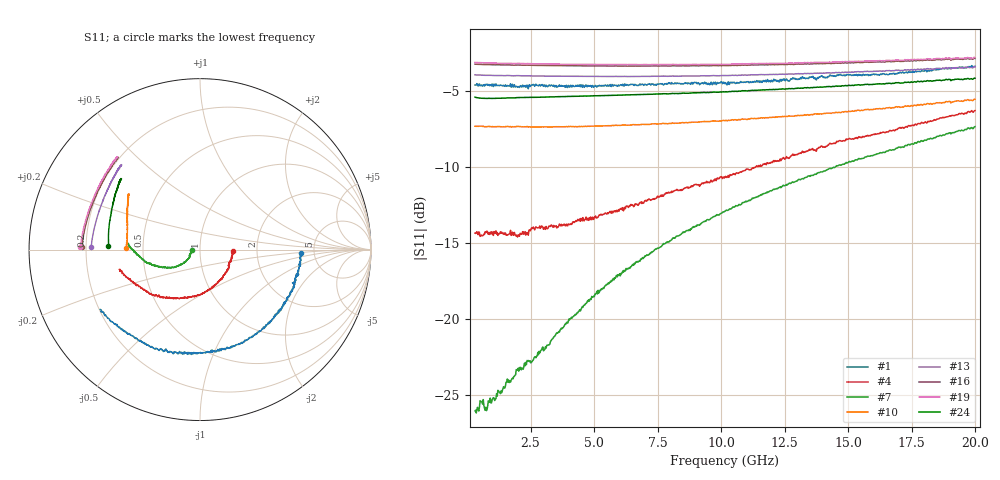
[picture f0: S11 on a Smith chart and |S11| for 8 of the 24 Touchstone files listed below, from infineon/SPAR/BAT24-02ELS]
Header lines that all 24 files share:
! Infineon Technologies  Discrete & RF Semiconductors
! BAT24-02ELS
! One-Port S-Parameters
# Hz  S  MA  R  50
!f  S11
!Hz  Mag  Ang
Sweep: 309.9 MHz to 20 GHz
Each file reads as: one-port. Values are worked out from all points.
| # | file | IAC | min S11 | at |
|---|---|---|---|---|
| 1 | BAT24-02ELS_IAC_0.2mA.s1p | 0.2 mA | -4.8 dB | 2.409 GHz |
| 2 | BAT24-02ELS_IAC_0.3mA.s1p | 0.3 mA | -7.5 dB | 2.409 GHz |
| 3 | BAT24-02ELS_IAC_0.4mA.s1p | 0.4 mA | -10.6 dB | 2.409 GHz |
| 4 | BAT24-02ELS_IAC_0.5mA.s1p | 0.5 mA | -14.6 dB | 1.984 GHz |
| 5 | BAT24-02ELS_IAC_0.6mA.s1p | 0.6 mA | -20.6 dB | 509.8 MHz |
| 6 | BAT24-02ELS_IAC_0.7mA.s1p | 0.7 mA | -35.6 dB | 509.8 MHz |
| 7 | BAT24-02ELS_IAC_0.8mA.s1p | 0.8 mA | -26.2 dB | 359.8 MHz |
| 8 | BAT24-02ELS_IAC_0.9mA.s1p | 0.9 mA | -19.4 dB | 759.6 MHz |
| 9 | BAT24-02ELS_IAC_1mA.s1p | 1 mA | -16.1 dB | 759.6 MHz |
| 10 | BAT24-02ELS_IAC_2mA.s1p | 2 mA | -7.4 dB | 2.809 GHz |
| 11 | BAT24-02ELS_IAC_3mA.s1p | 3 mA | -5.4 dB | 4.533 GHz |
| 12 | BAT24-02ELS_IAC_4mA.s1p | 4 mA | -4.5 dB | 4.808 GHz |
| 13 | BAT24-02ELS_IAC_5mA.s1p | 5 mA | -4.0 dB | 6.307 GHz |
| 14 | BAT24-02ELS_IAC_6mA.s1p | 6 mA | -3.7 dB | 6.307 GHz |
| 15 | BAT24-02ELS_IAC_7mA.s1p | 7 mA | -3.5 dB | 6.307 GHz |
| 16 | BAT24-02ELS_IAC_8mA.s1p | 8 mA | -3.3 dB | 6.307 GHz |
| 17 | BAT24-02ELS_IAC_9mA.s1p | 9 mA | -3.2 dB | 6.307 GHz |
| 18 | BAT24-02ELS_IAC_10mA.s1p | 10 mA | -3.1 dB | 6.307 GHz |
| 19 | BAT24-02ELS_IAC_50mA.s1p | 50 mA | -3.2 dB | 7.181 GHz |
| 20 | BAT24-02ELS_IAC_60mA.s1p | 60 mA | -3.6 dB | 6.307 GHz |
| 21 | BAT24-02ELS_IAC_70mA.s1p | 70 mA | -4.0 dB | 6.307 GHz |
| 22 | BAT24-02ELS_IAC_80mA.s1p | 80 mA | -4.5 dB | 4.808 GHz |
| 23 | BAT24-02ELS_IAC_90mA.s1p | 90 mA | -5.0 dB | 1.884 GHz |
| 24 | BAT24-02ELS_IAC_100mA.s1p | 100 mA | -5.5 dB | 759.6 MHz |
